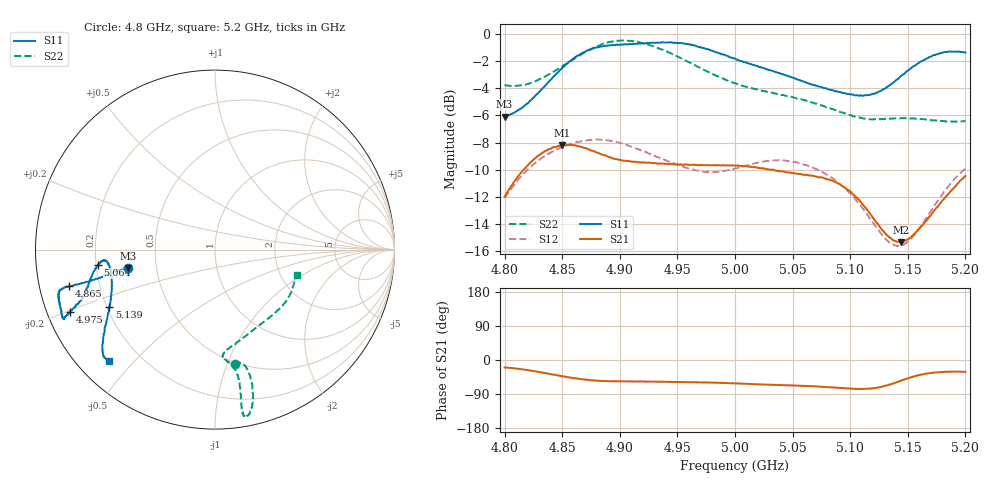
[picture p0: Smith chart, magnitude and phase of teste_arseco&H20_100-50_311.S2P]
! Network Analyzer HP8722D
! Hewlett-Packard
! Data name: Linha & Wilkinson
! Saver's name: Rodrigo Anjos
! Comments: Teste da utilização de aquisição
! continua pelo VNA HP8722D
! Time and date: 6/5/2025 15:09
!  Frequency  S11  S21  S12  S22
# HZ  S  MA R 50
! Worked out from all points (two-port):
!   401 points, 4.8 GHz to 5.2 GHz, reference 50 ohm
!   highest |S21| = -8.17 dB at 4.85 GHz (marker M1); lowest = -15.3 dB at 5.144 GHz (marker M2)
!   |S21| within 3 dB of the highest: 4.806 GHz to 5.093 GHz (286.6 MHz wide, 5.79 % of centre); 5.191772 GHz to end of sweep
!   lowest |S11| = -6.1 dB at 4.8 GHz (marker M3), VSWR 2.97, Z = 17 - j4.6 ohm
!   |S11| at or under -10 dB: nowhere
!   |S22| runs from -6.5 to -0.5 dB; largest |S21 - S12| = 0.62
!   S11 on the Smith chart (normalised r, x): 4.8 GHz: 0.34, -0.09; 4.865 GHz: 0.09, -0.12; 4.975 GHz: 0.07, -0.20; 5.064 GHz: 0.21, -0.06; 5.139 GHz: 0.21, -0.24; 5.2 GHz: 0.09, -0.43
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4.8e9  0.4962 -168.1  0.2518 -19.6  0.2485 -140.9  0.6494 -80.3
4.823e9  0.5703 -167.5  0.338 -28.1  0.3247 -143.7  0.6599 -76.0
4.85e9  0.7487 -165.8  0.3904 -42.6  0.3832 -149.0  0.759 -74.5
4.865e9  0.8392 -165.9  0.3855 -49.8  0.4008 -151.7  0.8317 -75.2
4.867e9  0.8476 -165.7  0.3834 -50.7  0.4032 -151.9  0.8429 -75.4
4.88e9  0.8905 -165.4  0.3656 -54.5  0.4088 -154.1  0.8989 -76.6
4.9e9  0.9126 -162.6  0.344 -56.3  0.3967 -156.4  0.9433 -79.1
4.934e9  0.9278 -156.4  0.3329 -57.5  0.3509 -155.6  0.8831 -80.4
4.951e9  0.925 -155.5  0.331 -58.2  0.3285 -152.6  0.8224 -79.9
4.975e9  0.8805 -156.8  0.3289 -59.4  0.3105 -145.2  0.731 -79.7
5e9  0.8109 -159.0  0.3274 -61.8  0.3196 -137.2  0.6574 -81.2
5.04e9  0.712 -166.6  0.3119 -66.2  0.3422 -134.5  0.5957 -85.8
5.064e9  0.6571 -172.6  0.3014 -68.8  0.3262 -136.6  0.5646 -83.3
5.067e9  0.6507 -173.0  0.3007 -69.1  0.3227 -136.8  0.5593 -82.7
5.082e9  0.6236 -174.5  0.2908 -71.8  0.2994 -138.2  0.5334 -77.2
5.101e9  0.5998 -172.1  0.2607 -75.6  0.2559 -138.7  0.5014 -66.5
5.116e9  0.5956 -165.5  0.2215 -75.9  0.2126 -135.5  0.4857 -55.8
5.134e9  0.6458 -154.3  0.1785 -65.3  0.1706 -120.8  0.4871 -43.2
5.139e9  0.6714 -151.4  0.173 -60.3  0.1664 -114.3  0.489 -40.4
5.144e9  0.6989 -148.7  0.1712 -54.8  0.1659 -107.5  0.4892 -37.6
5.173e9  0.8351 -138.8  0.224 -33.2  0.2329 -80.7  0.4802 -24.2
5.2e9  0.8538 -133.6  0.3 -31.2  0.3192 -76.9  0.4777 -17.4
